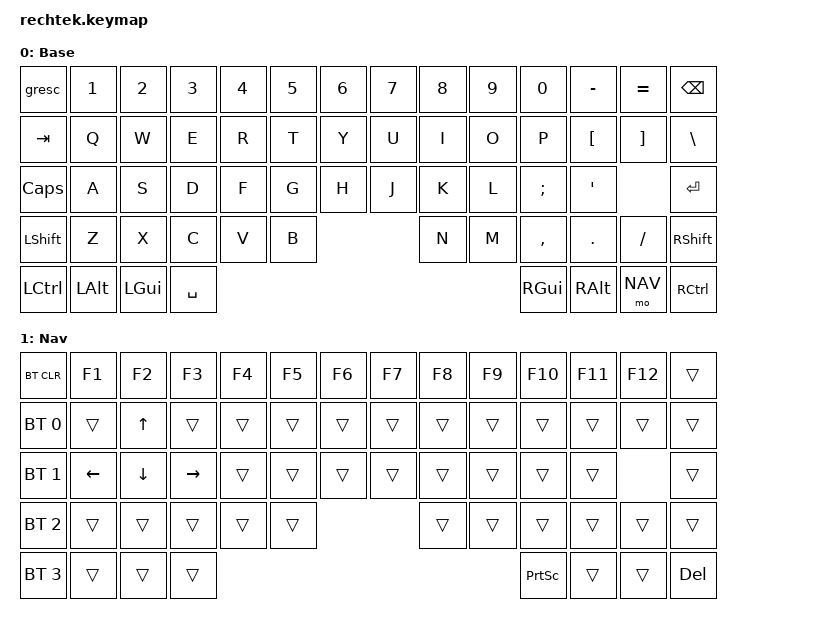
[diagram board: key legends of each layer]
/*
 * Copyright (c) 2024 The ZMK Contributors
 *
 * SPDX-License-Identifier: MIT
 */

#include <behaviors.dtsi>
#include <dt-bindings/zmk/keys.h>
#include <dt-bindings/zmk/bt.h>
#include <dt-bindings/zmk/outputs.h>
#include <dt-bindings/zmk/ext_power.h>

#define BASE 0
#define NAV  1

/ {
    keymap {
        compatible = "zmk,keymap";

        default_layer {
// ------------------------------------------------------------------------------------------
// | ESC |  1  |  2  |  3  |  4  |  5  |  6  |  7  |  8  |  9  |  0  |  -  |  =  |   BKSP   |
// | TAB  |  Q  |  W  |  E  |  R  |  T  |  Y  |  U  |  I  |  O  |  P  |  [  |  ]  |   "|"   |
// | CAPS  |  A  |  S  |  D  |  F  |  G  |  H  |  J  |  K  |  L  |  ;  |  '  |     ENTER    |
// |  SHIFT  |  Z  |  X  |  C  |  V  |  B  |  N  |  M  |  ,  |  .  |  /  |      SHIFT       |
// |  CTL  |  ALT  |  CMD  |            SPACE              |  CMD  |  ALT  |  MO(1) |  CTL  |
// ------------------------------------------------------------------------------------------
            display-name = "Base";

            bindings = <
&gresc    &kp N1   &kp N2  &kp N3  &kp N4  &kp N5  &kp N6  &kp N7  &kp N8     &kp N9   &kp N0    &kp MINUS  &kp EQUAL  &kp BSPC
&kp TAB   &kp Q    &kp W   &kp E   &kp R   &kp T   &kp Y   &kp U   &kp I      &kp O    &kp P     &kp LBKT   &kp RBKT   &kp BSLH
&kp CLCK  &kp A    &kp S   &kp D   &kp F   &kp G   &kp H   &kp J   &kp K      &kp L    &kp SEMI  &kp SQT               &kp RET
&kp LSHFT &kp Z    &kp X   &kp C   &kp V   &kp B   &kp N   &kp M   &kp COMMA  &kp DOT  &kp FSLH                       &kp RSHFT
&kp LCTRL &kp LALT &kp LGUI         &kp SPACE                      &kp RGUI   &kp RALT &mo NAV                        &kp RCTRL
            >;
        };

        nav_layer {
// ------------------------------------------------------------------------------------------------
// | BT CLR | F1  | F2  | F3  | F4  | F5  | F6  | F7  | F8  | F9  | F10  | F11 | F12 |            |
// |  BT 1   |   |  UP |   |       |       |       |       |   |     |    |     |     |           |
// |   BT 2   | LT |  DN  | RT |       |       |       |       |   |     |   |     |              |
// |    BT 3     |     |      |      |     |     |     |     |     |     |     |                  |
// |   BT 4  |      |      |                                    | PRT SCR |       |       |  DEL  |
// ------------------------------------------------------------------------------------------------
            display-name = "Nav";

            bindings = <
&bt BT_CLR    &kp F1    &kp F2    &kp F3    &kp F4    &kp F5    &kp F6    &kp F7    &kp F8    &kp F9    &kp F10   &kp F11  &kp F12  &trans
&bt BT_SEL 0  &trans    &kp UP    &trans    &trans    &trans    &trans    &trans    &trans    &trans    &trans    &trans   &trans   &trans
&bt BT_SEL 1  &kp LEFT  &kp DOWN  &kp RIGHT &trans    &trans    &trans    &trans    &trans    &trans    &trans    &trans            &trans
&bt BT_SEL 2  &trans    &trans    &trans    &trans    &trans    &trans    &trans    &trans    &trans    &trans                      &trans
&bt BT_SEL 3  &trans    &trans                        &trans                        &kp PSCRN &trans    &trans                      &kp DEL
            >;
        };
    };
};
